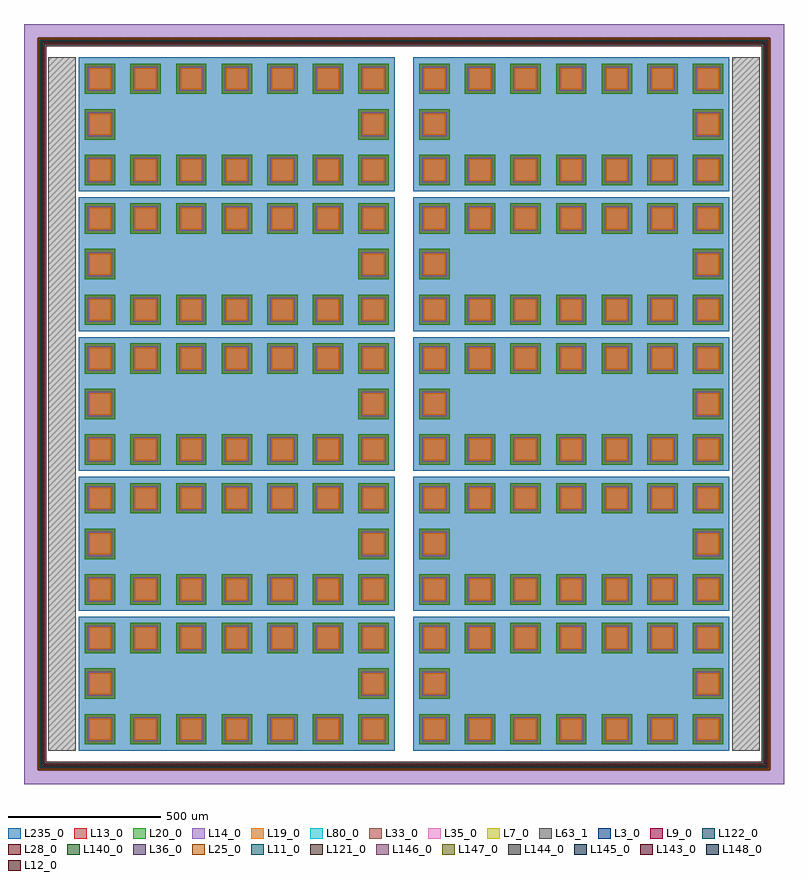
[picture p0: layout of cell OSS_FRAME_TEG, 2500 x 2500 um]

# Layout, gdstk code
from math import pi, radians
import gdstk
lib = gdstk.Library(unit=1e-6, precision=1e-09)
def R(c, l, rs):  # rectangles x0, y0, x1, y1
    for r in rs: c.add(gdstk.rectangle(r[:2], r[2:], *l))
L3_0 = (3, 0)
L7_0 = (7, 0)
L9_0 = (9, 0)
L11_0 = (11, 0)
L12_0 = (12, 0)
L13_0 = (13, 0)
L14_0 = (14, 0)
L19_0 = (19, 0)
L20_0 = (20, 0)
L25_0 = (25, 0)
L28_0 = (28, 0)
L33_0 = (33, 0)
L35_0 = (35, 0)
L36_0 = (36, 0)
L63_1 = (63, 1)
L80_0 = (80, 0)
L121_0 = (121, 0)
L122_0 = (122, 0)
L140_0 = (140, 0)
L143_0 = (143, 0)
L144_0 = (144, 0)
L145_0 = (145, 0)
L146_0 = (146, 0)
L147_0 = (147, 0)
L148_0 = (148, 0)
L235_0 = (235, 0)

oss_pad = lib.new_cell('OSS_PAD')
R(oss_pad, L13_0, [(-50,-50,50,50), (-50,-50,50,50)])
R(oss_pad, L14_0, [(-40,-40,40,40), (-40,-40,40,40)])
R(oss_pad, L19_0, [(-35,-35,35,35), (-35,-35,35,35)])
R(oss_pad, L20_0, [(-50,-50,50,50), (-50,-50,50,50)])

oss_pad16 = lib.new_cell('OSS_PAD16')
R(oss_pad16, L235_0, [(-520,-220,520,220)])
oss_pad16.add(gdstk.Reference(oss_pad, (0,150)))
oss_pad16.add(gdstk.Reference(oss_pad, (0,-150)))
oss_pad16.add(gdstk.Reference(oss_pad, (-150,150)))
oss_pad16.add(gdstk.Reference(oss_pad, (-150,-150)))
oss_pad16.add(gdstk.Reference(oss_pad, (-300,150)))
oss_pad16.add(gdstk.Reference(oss_pad, (-300,-150)))
oss_pad16.add(gdstk.Reference(oss_pad, (-450,150)))
oss_pad16.add(gdstk.Reference(oss_pad, (-450,-150)))
oss_pad16.add(gdstk.Reference(oss_pad, (-450,0)))
oss_pad16.add(gdstk.Reference(oss_pad, (450,150)))
oss_pad16.add(gdstk.Reference(oss_pad, (450,-150)))
oss_pad16.add(gdstk.Reference(oss_pad, (450,0)))
oss_pad16.add(gdstk.Reference(oss_pad, (300,150)))
oss_pad16.add(gdstk.Reference(oss_pad, (300,-150)))
oss_pad16.add(gdstk.Reference(oss_pad, (150,150)))
oss_pad16.add(gdstk.Reference(oss_pad, (150,-150)))

oss_edge_seal0 = lib.new_cell('OSS_EDGE_SEAL0')
R(oss_edge_seal0, L3_0, [(47,-1203,67,1203), (47,-1203,67,1203)])
R(oss_edge_seal0, L7_0, [(45,-1205,69,1205), (45,-1205,69,1205)])
R(oss_edge_seal0, L9_0, [(45,-1205,58.75,1205), (45,-1205,58.75,1205)])
R(oss_edge_seal0, L11_0, [(55,-1195,61,1195), (55,-1195,61,1195)])
R(oss_edge_seal0, L12_0, [(71,-1179,73.6,1179), (71,-1179,73.6,1179)])
R(oss_edge_seal0, L13_0, [(52,-1198,67,1198), (52,-1198,67,1198)])
R(oss_edge_seal0, L14_0, [(0,-1250,45,1250), (0,-1250,45,1250)])
R(oss_edge_seal0, L19_0, [(63,-1187,65,1187), (63,-1187,65,1187)])
R(oss_edge_seal0, L20_0, [(54,-1196,67,1196), (54,-1196,67,1196)])
R(oss_edge_seal0, L25_0, [(45,-1205,52,1205), (45,-1205,52,1205)])
R(oss_edge_seal0, L28_0, [(57.25,-1192.75,69,1192.75), (57.25,-1192.75,69,1192.75)])
R(oss_edge_seal0, L33_0, [(45,-1205,69,1205), (45,-1205,69,1205)])
R(oss_edge_seal0, L35_0, [(45,-1205,69,1205), (45,-1205,69,1205)])
R(oss_edge_seal0, L36_0, [(45,-1205,52,1205), (45,-1205,52,1205)])
R(oss_edge_seal0, L80_0, [(45,-1205,73.6,1205), (45,-1205,73.6,1205)])
R(oss_edge_seal0, L121_0, [(57.4,-1192.6,58.8,1192.6), (57.4,-1192.6,58.8,1192.6), (60.3,-1189.7,61.7,1189.7), (60.3,-1189.7,61.7,1189.7)])
R(oss_edge_seal0, L122_0, [(54,-1196,67,1196), (54,-1196,67,1196)])
R(oss_edge_seal0, L140_0, [(45,-1205,52,1205), (45,-1205,52,1205)])
R(oss_edge_seal0, L143_0, [(71,-1179,73.6,1179), (71,-1179,73.6,1179)])
R(oss_edge_seal0, L144_0, [(71,-1179,73.6,1179), (71,-1179,73.6,1179)])
R(oss_edge_seal0, L145_0, [(71,-1179,73.6,1179), (71,-1179,73.6,1179)])
R(oss_edge_seal0, L146_0, [(71,-1179,73.6,1179), (71,-1179,73.6,1179)])
R(oss_edge_seal0, L147_0, [(71,-1179,73.6,1179), (71,-1179,73.6,1179)])
R(oss_edge_seal0, L148_0, [(71,-1179,73.6,1179), (71,-1179,73.6,1179)])

oss_edge_seal = lib.new_cell('OSS_EDGE_SEAL')
oss_edge_seal.add(gdstk.Reference(oss_edge_seal0, (-1250,0)))
oss_edge_seal.add(gdstk.Reference(oss_edge_seal0, (0,-1250), rotation=pi/2))
oss_edge_seal.add(gdstk.Reference(oss_edge_seal0, (1250,0), rotation=pi))
oss_edge_seal.add(gdstk.Reference(oss_edge_seal0, (0,1250), rotation=3*pi/2))

oss_frame_teg = lib.new_cell('OSS_FRAME_TEG')
R(oss_frame_teg, L63_1, [(-1170,-1140,-1080,1140), (1080,-1140,1170,1140)])
r = gdstk.Reference(oss_pad16, (-550,-920)); r.repetition = gdstk.Repetition(2, 5, v1=(1100,0), v2=(0,460)); oss_frame_teg.add(r)
oss_frame_teg.add(gdstk.Reference(oss_edge_seal, (0,0)))

lib.write_gds('OSS_FRAME_TEG.gds')
